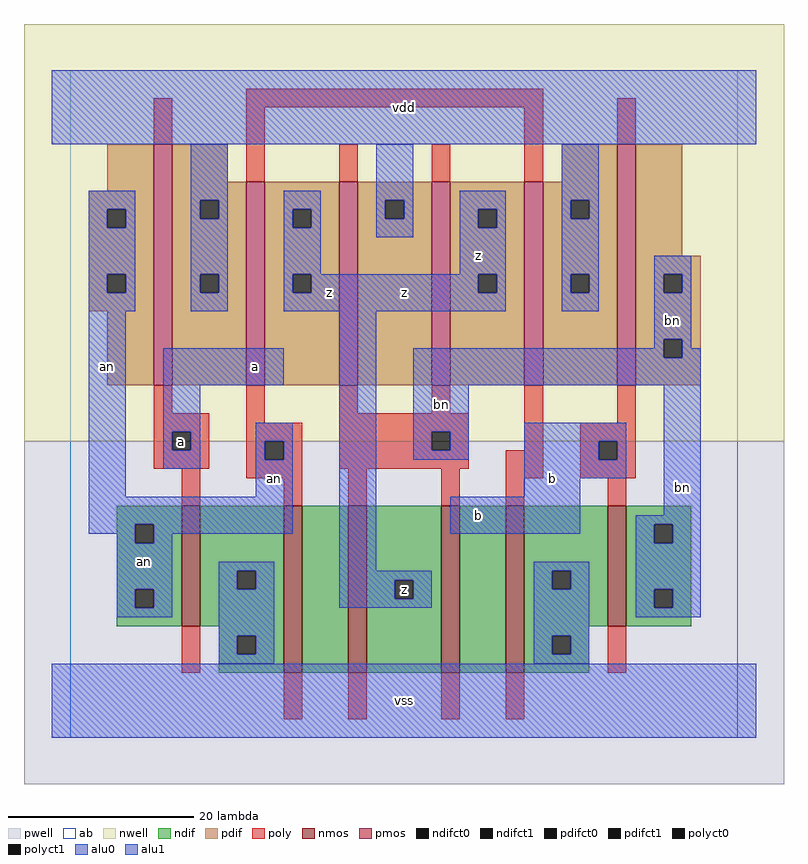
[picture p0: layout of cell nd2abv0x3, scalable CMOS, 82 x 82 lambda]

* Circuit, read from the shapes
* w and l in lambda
.subckt nd2abv0x3 a an b bn vdd vss z
M1 vss a an VSUBS nfet w=13 l=2
M2 n1 an vss VSUBS nfet w=18 l=2
M3 z bn n1 VSUBS nfet w=18 l=2
M4 n2 bn z VSUBS nfet w=18 l=2
M5 vss an n2 VSUBS nfet w=18 l=2
M6 bn b vss VSUBS nfet w=13 l=2
M7 vdd a an n3 pfet w=26 l=2
M8 z an vdd n3 pfet w=22 l=2 m=2
M9 vdd bn z n3 pfet w=22 l=2 m=2
M10 bn b vdd n3 pfet w=26 l=2
.ends

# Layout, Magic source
magic
tech scmos
<< ab >>
rect 0 0 72 72
<< nwell >>
rect -5 32 77 77
<< pwell >>
rect -5 -5 77 32
<< poly >>
rect 9 64 11 69
rect 19 68 51 70
rect 19 60 21 68
rect 29 60 31 64
rect 39 60 41 64
rect 49 60 51 68
rect 59 64 61 69
rect 9 35 11 38
rect 9 33 15 35
rect 9 31 11 33
rect 13 31 15 33
rect 9 29 15 31
rect 19 34 21 38
rect 29 35 31 38
rect 39 35 41 38
rect 19 32 25 34
rect 19 30 21 32
rect 23 30 25 32
rect 12 25 14 29
rect 19 28 25 30
rect 29 33 43 35
rect 29 31 39 33
rect 41 31 43 33
rect 49 31 51 38
rect 59 34 61 38
rect 29 29 43 31
rect 23 25 25 28
rect 30 25 32 29
rect 40 25 42 29
rect 47 28 51 31
rect 55 32 61 34
rect 55 30 57 32
rect 59 30 61 32
rect 55 28 61 30
rect 47 25 49 28
rect 58 25 60 28
rect 12 7 14 12
rect 58 7 60 12
rect 23 2 25 7
rect 30 2 32 7
rect 40 2 42 7
rect 47 2 49 7
<< ndif >>
rect 5 23 12 25
rect 5 21 7 23
rect 9 21 12 23
rect 5 16 12 21
rect 5 14 7 16
rect 9 14 12 16
rect 5 12 12 14
rect 14 18 23 25
rect 14 16 18 18
rect 20 16 23 18
rect 14 12 23 16
rect 16 11 23 12
rect 16 9 18 11
rect 20 9 23 11
rect 16 7 23 9
rect 25 7 30 25
rect 32 17 40 25
rect 32 15 35 17
rect 37 15 40 17
rect 32 7 40 15
rect 42 7 47 25
rect 49 18 58 25
rect 49 16 52 18
rect 54 16 58 18
rect 49 12 58 16
rect 60 23 67 25
rect 60 21 63 23
rect 65 21 67 23
rect 60 16 67 21
rect 60 14 63 16
rect 65 14 67 16
rect 60 12 67 14
rect 49 11 56 12
rect 49 9 52 11
rect 54 9 56 11
rect 49 7 56 9
<< pdif >>
rect 4 59 9 64
rect 2 57 9 59
rect 2 55 4 57
rect 6 55 9 57
rect 2 50 9 55
rect 2 48 4 50
rect 6 48 9 50
rect 2 46 9 48
rect 4 38 9 46
rect 11 60 17 64
rect 53 60 59 64
rect 11 58 19 60
rect 11 56 14 58
rect 16 56 19 58
rect 11 50 19 56
rect 11 48 14 50
rect 16 48 19 50
rect 11 38 19 48
rect 21 57 29 60
rect 21 55 24 57
rect 26 55 29 57
rect 21 50 29 55
rect 21 48 24 50
rect 26 48 29 50
rect 21 38 29 48
rect 31 58 39 60
rect 31 56 34 58
rect 36 56 39 58
rect 31 38 39 56
rect 41 57 49 60
rect 41 55 44 57
rect 46 55 49 57
rect 41 50 49 55
rect 41 48 44 50
rect 46 48 49 50
rect 41 38 49 48
rect 51 58 59 60
rect 51 56 54 58
rect 56 56 59 58
rect 51 50 59 56
rect 51 48 54 50
rect 56 48 59 50
rect 51 38 59 48
rect 61 52 66 64
rect 61 50 68 52
rect 61 48 64 50
rect 66 48 68 50
rect 61 43 68 48
rect 61 41 64 43
rect 66 41 68 43
rect 61 38 68 41
<< alu1 >>
rect -2 64 74 72
rect 23 57 27 59
rect 23 55 24 57
rect 26 55 27 57
rect 23 50 27 55
rect 42 57 47 59
rect 42 55 44 57
rect 46 55 47 57
rect 42 50 47 55
rect 23 48 24 50
rect 26 48 44 50
rect 46 48 47 50
rect 23 46 47 48
rect 10 38 23 42
rect 10 33 14 38
rect 10 31 11 33
rect 13 31 14 33
rect 10 29 14 31
rect 29 18 33 46
rect 49 32 60 34
rect 49 30 57 32
rect 59 30 60 32
rect 49 28 60 30
rect 49 26 55 28
rect 41 22 55 26
rect 29 17 39 18
rect 29 15 35 17
rect 37 15 39 17
rect 29 14 39 15
rect -2 0 74 8
<< nmos >>
rect 12 12 14 25
rect 23 7 25 25
rect 30 7 32 25
rect 40 7 42 25
rect 47 7 49 25
rect 58 12 60 25
<< pmos >>
rect 9 38 11 64
rect 19 38 21 60
rect 29 38 31 60
rect 39 38 41 60
rect 49 38 51 60
rect 59 38 61 64
<< polyct0 >>
rect 21 30 23 32
rect 39 31 41 33
<< polyct1 >>
rect 11 31 13 33
rect 57 30 59 32
<< ndifct0 >>
rect 7 21 9 23
rect 7 14 9 16
rect 18 16 20 18
rect 18 9 20 11
rect 52 16 54 18
rect 63 21 65 23
rect 63 14 65 16
rect 52 9 54 11
<< ndifct1 >>
rect 35 15 37 17
<< pdifct0 >>
rect 4 55 6 57
rect 4 48 6 50
rect 14 56 16 58
rect 14 48 16 50
rect 34 56 36 58
rect 54 56 56 58
rect 54 48 56 50
rect 64 48 66 50
rect 64 41 66 43
<< pdifct1 >>
rect 24 55 26 57
rect 24 48 26 50
rect 44 55 46 57
rect 44 48 46 50
<< alu0 >>
rect 2 57 7 59
rect 2 55 4 57
rect 6 55 7 57
rect 2 50 7 55
rect 2 48 4 50
rect 6 48 7 50
rect 2 46 7 48
rect 13 58 17 64
rect 13 56 14 58
rect 16 56 17 58
rect 13 50 17 56
rect 13 48 14 50
rect 16 48 17 50
rect 13 46 17 48
rect 33 58 37 64
rect 33 56 34 58
rect 36 56 37 58
rect 33 54 37 56
rect 53 58 57 64
rect 53 56 54 58
rect 56 56 57 58
rect 53 50 57 56
rect 53 48 54 50
rect 56 48 57 50
rect 53 46 57 48
rect 63 50 67 52
rect 63 48 64 50
rect 66 48 67 50
rect 2 26 6 46
rect 20 32 24 34
rect 20 30 21 32
rect 23 30 24 32
rect 20 26 24 30
rect 2 23 24 26
rect 2 22 7 23
rect 5 21 7 22
rect 9 22 24 23
rect 9 21 11 22
rect 5 16 11 21
rect 5 14 7 16
rect 9 14 11 16
rect 5 13 11 14
rect 16 18 22 19
rect 16 16 18 18
rect 20 16 22 18
rect 16 11 22 16
rect 63 43 67 48
rect 63 42 64 43
rect 37 41 64 42
rect 66 42 67 43
rect 66 41 68 42
rect 37 38 68 41
rect 37 33 43 38
rect 37 31 39 33
rect 41 31 43 33
rect 37 30 43 31
rect 64 24 68 38
rect 61 23 68 24
rect 61 21 63 23
rect 65 21 68 23
rect 50 18 56 19
rect 50 16 52 18
rect 54 16 56 18
rect 16 9 18 11
rect 20 9 22 11
rect 16 8 22 9
rect 50 11 56 16
rect 61 16 68 21
rect 61 14 63 16
rect 65 14 68 16
rect 61 13 68 14
rect 50 9 52 11
rect 54 9 56 11
rect 50 8 56 9
<< labels >>
rlabel alu0 8 19 8 19 6 an
rlabel alu0 4 40 4 40 6 an
rlabel alu0 22 28 22 28 6 an
rlabel alu0 40 36 40 36 6 bn
rlabel alu0 65 45 65 45 6 bn
rlabel alu0 66 27 66 27 6 bn
rlabel polyct1 12 32 12 32 6 a
rlabel alu1 20 40 20 40 6 a
rlabel alu1 28 48 28 48 6 z
rlabel alu1 36 4 36 4 6 vss
rlabel ndifct1 36 16 36 16 6 z
rlabel alu1 44 24 44 24 6 b
rlabel alu1 52 28 52 28 6 b
rlabel alu1 36 48 36 48 6 z
rlabel alu1 44 52 44 52 6 z
rlabel alu1 36 68 36 68 6 vdd
<< end >>
